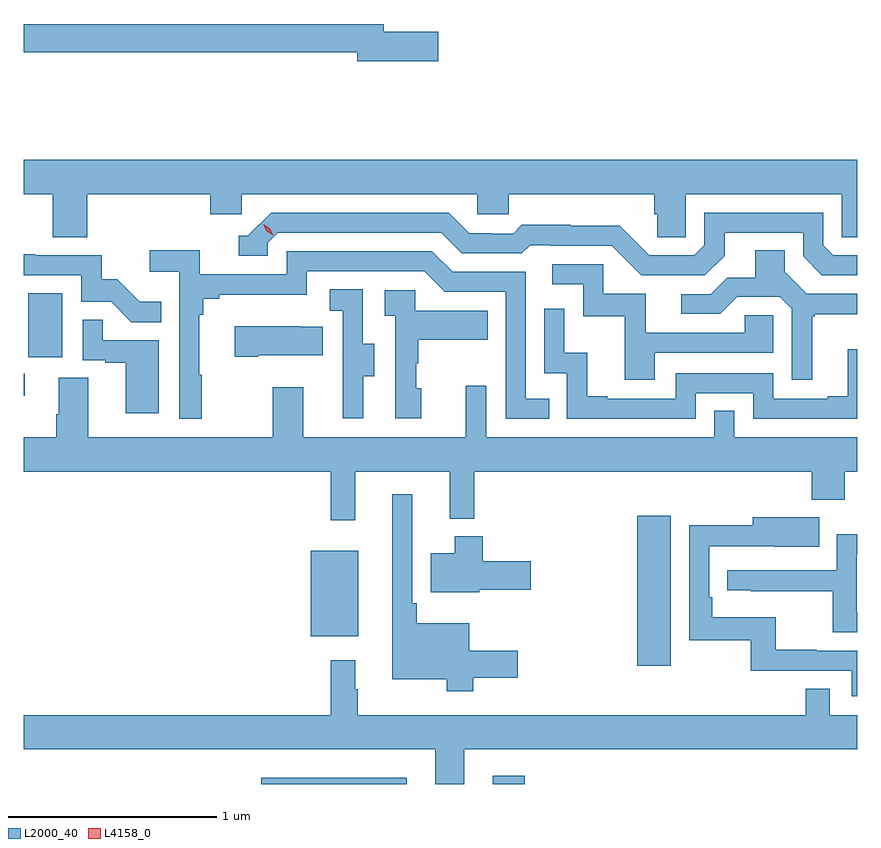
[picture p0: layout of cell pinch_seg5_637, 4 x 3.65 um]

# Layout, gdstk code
import gdstk
lib = gdstk.Library(unit=1e-6, precision=1e-09)
def R(c, l, rs):  # rectangles x0, y0, x1, y1
    for r in rs: c.add(gdstk.rectangle(r[:2], r[2:], *l))
def P(c, l, *ps):  # polygons
    for p in ps: c.add(gdstk.Polygon(p, *l))
L2000_40 = (2000, 40)
L4158_0 = (4158, 0)

pinch_seg5_637 = lib.new_cell('pinch_seg5_637')
R(pinch_seg5_637, L2000_40, [(1054.215,871.245,1054.915,871.276), (1055.327,871.245,1055.48,871.285), (1056.02,871.812,1056.181,872.533), (1054.454,871.955,1054.681,872.365), (1053.076,873.108,1053.082,873.213), (1053.098,873.294,1053.262,873.601)])
P(pinch_seg5_637, L2000_40, [(1055.065,874.856),(1054.804,874.856),(1054.804,874.892),(1053.076,874.892),(1053.076,874.756),(1054.676,874.756),(1054.676,874.714),(1055.065,874.714)],
  [(1053.076,874.076),(1053.215,874.076),(1053.215,873.868),(1053.38,873.868),(1053.38,874.076),(1053.971,874.076),(1053.971,873.978),(1054.122,873.978),(1054.122,874.076),(1055.253,874.076),(1055.253,873.978),(1055.403,873.978),(1055.403,874.076),(1056.101,874.076),(1056.101,873.978),(1056.115,873.978),(1056.115,873.868),(1056.252,873.868),(1056.252,874.076),(1057.002,874.076),(1057.002,873.868),(1057.076,873.868),(1057.076,874.24),(1053.076,874.24)],
  [(1056.439,873.781),(1056.439,873.891),(1056.816,873.891),(1056.816,873.777),(1056.906,873.687),(1057.076,873.687),(1057.076,873.783),(1056.96,873.783),(1056.912,873.831),(1056.912,873.987),(1056.342,873.987),(1056.342,873.831),(1056.294,873.783),(1056.078,873.783),(1055.936,873.925),(1055.7,873.925),(1055.7,873.928),(1055.467,873.928),(1055.425,873.885),(1055.322,873.885),(1055.322,873.888),(1055.215,873.888),(1055.116,873.987),(1054.263,873.987),(1054.152,873.876),(1054.109,873.876),(1054.109,873.78),(1054.248,873.78),(1054.248,873.843),(1054.296,873.891),(1055.079,873.891),(1055.178,873.792),(1055.467,873.792),(1055.506,873.831),(1055.605,873.831),(1055.605,873.828),(1055.898,873.828),(1056.039,873.687),(1056.345,873.687)],
  [(1056.859,873.489),(1056.871,873.489),(1056.871,873.5),(1057.076,873.5),(1057.076,873.597),(1056.834,873.597),(1056.727,873.704),(1056.727,873.806),(1056.587,873.806),(1056.587,873.674),(1056.452,873.674),(1056.372,873.594),(1056.231,873.594),(1056.231,873.501),(1056.418,873.501),(1056.499,873.582),(1056.705,873.582),(1056.762,873.525),(1056.762,873.186),(1056.859,873.186)],
  [(1053.931,873.209),(1053.919,873.209),(1053.919,873.497),(1053.938,873.497),(1053.938,873.574),(1054.015,873.574),(1054.015,873.593),(1054.434,873.593),(1054.434,873.705),(1054.998,873.705),(1055.097,873.606),(1055.388,873.606),(1055.388,872.997),(1055.597,872.997),(1055.597,873.093),(1055.484,873.093),(1055.484,873.702),(1055.134,873.702),(1055.035,873.801),(1054.338,873.801),(1054.338,873.69),(1053.92,873.69),(1053.92,873.806),(1053.681,873.806),(1053.681,873.704),(1053.822,873.704),(1053.822,872.997),(1053.931,872.997)],
  [(1053.737,873.559),(1053.633,873.559),(1053.526,873.666),(1053.45,873.666),(1053.45,873.783),(1053.131,873.783),(1053.131,873.788),(1053.076,873.788),(1053.076,873.687),(1053.351,873.687),(1053.351,873.558),(1053.495,873.558),(1053.593,873.46),(1053.737,873.46)],
  [(1056.103,873.315),(1056.672,873.315),(1056.672,873.495),(1056.535,873.495),(1056.535,873.411),(1056.061,873.411),(1056.061,873.597),(1055.856,873.597),(1055.856,873.738),(1055.613,873.738),(1055.613,873.642),(1055.76,873.642),(1055.76,873.489),(1055.959,873.489),(1055.959,873.186),(1056.103,873.186)],
  [(1054.705,873.202),(1054.759,873.202),(1054.759,873.357),(1054.704,873.357),(1054.704,873.62),(1054.545,873.62),(1054.545,873.517),(1054.608,873.517),(1054.608,873.213),(1054.607,873.213),(1054.607,873),(1054.705,873)],
  [(1054.984,873.144),(1054.959,873.144),(1054.959,873.263),(1054.969,873.263),(1054.969,873.377),(1055.303,873.377),(1055.303,873.517),(1054.956,873.517),(1054.956,873.615),(1054.809,873.615),(1054.809,873.491),(1054.86,873.491),(1054.86,873),(1054.984,873)],
  [(1056.3,873.12),(1056.576,873.12),(1056.576,872.997),(1057.076,872.997),(1057.076,873.331),(1057.031,873.331),(1057.031,873.106),(1056.935,873.106),(1056.935,873.093),(1056.672,873.093),(1056.672,873.216),(1056.204,873.216),(1056.204,873.093),(1055.875,873.093),(1055.875,873.106),(1055.78,873.106),(1055.78,873.314),(1055.67,873.314),(1055.67,873.526),(1055.574,873.526),(1055.574,873.216),(1055.682,873.216),(1055.682,872.997),(1056.3,872.997)],
  [(1053.724,873.375),(1053.455,873.375),(1053.455,873.473),(1053.36,873.473),(1053.36,873.279),(1053.467,873.279),(1053.467,873.267),(1053.566,873.267),(1053.566,873.024),(1053.724,873.024)],
  [(1054.201,873.302),(1054.511,873.302),(1054.511,873.439),(1054.403,873.439),(1054.403,873.442),(1054.089,873.442),(1054.089,873.295),(1054.201,873.295)],
  [(1054.667,872.744),(1055.12,872.744),(1055.12,872.519),(1055.237,872.519),(1055.237,872.744),(1056.857,872.744),(1056.857,872.609),(1057.017,872.609),(1057.017,872.744),(1057.076,872.744),(1057.076,872.908),(1056.486,872.908),(1056.486,873.035),(1056.39,873.035),(1056.39,872.908),(1055.295,872.908),(1055.295,873.157),(1055.198,873.157),(1055.198,872.908),(1054.417,872.908),(1054.417,873.148),(1054.27,873.148),(1054.27,872.908),(1053.385,872.908),(1053.385,873.194),(1053.245,873.194),(1053.245,873.02),(1053.233,873.02),(1053.233,872.908),(1053.076,872.908),(1053.076,872.744),(1054.549,872.744),(1054.549,872.511),(1054.667,872.511)],
  [(1055.234,871.754),(1055.446,871.754),(1055.446,871.884),(1055.215,871.884),(1055.215,872.017),(1054.961,872.017),(1054.961,872.113),(1054.941,872.113),(1054.941,872.635),(1054.844,872.635),(1054.844,871.748),(1055.106,871.748),(1055.106,871.691),(1055.234,871.691)],
  [(1057.076,871.884),(1056.881,871.884),(1056.881,871.889),(1056.685,871.889),(1056.685,872.044),(1056.38,872.044),(1056.38,872.14),(1056.366,872.14),(1056.366,872.385),(1056.679,872.385),(1056.679,872.384),(1056.893,872.384),(1056.893,872.524),(1056.575,872.524),(1056.575,872.486),(1056.27,872.486),(1056.27,871.935),(1056.564,871.935),(1056.564,871.788),(1057.05,871.788),(1057.05,871.665),(1057.076,871.665)],
  [(1057.076,872.07),(1057.074,872.07),(1057.074,872.346),(1057.076,872.346),(1057.076,872.443),(1056.978,872.443),(1056.978,872.271),(1056.453,872.271),(1056.453,872.175),(1056.565,872.175),(1056.565,872.17),(1056.958,872.17),(1056.958,871.974),(1057.076,871.974)],
  [(1055.262,872.176),(1055.509,872.176),(1055.509,872.313),(1055.279,872.313),(1055.279,872.434),(1055.144,872.434),(1055.144,872.353),(1055.03,872.353),(1055.03,872.165),(1055.262,872.165)],
  [(1055.191,871.412),(1057.076,871.412),(1057.076,871.576),(1056.945,871.576),(1056.945,871.703),(1056.829,871.703),(1056.829,871.576),(1054.678,871.576),(1054.678,871.7),(1054.666,871.7),(1054.666,871.84),(1054.549,871.84),(1054.549,871.576),(1053.076,871.576),(1053.076,871.412),(1055.051,871.412),(1055.051,871.245),(1055.191,871.245)])
P(pinch_seg5_637, L4158_0, [(1054.273,873.878),(1054.242,873.897),(1054.226,873.93),(1054.226,873.93),(1054.226,873.93),(1054.257,873.911),(1054.273,873.878),(1054.273,873.878)])

lib.write_gds('pinch_seg5_637.gds')
